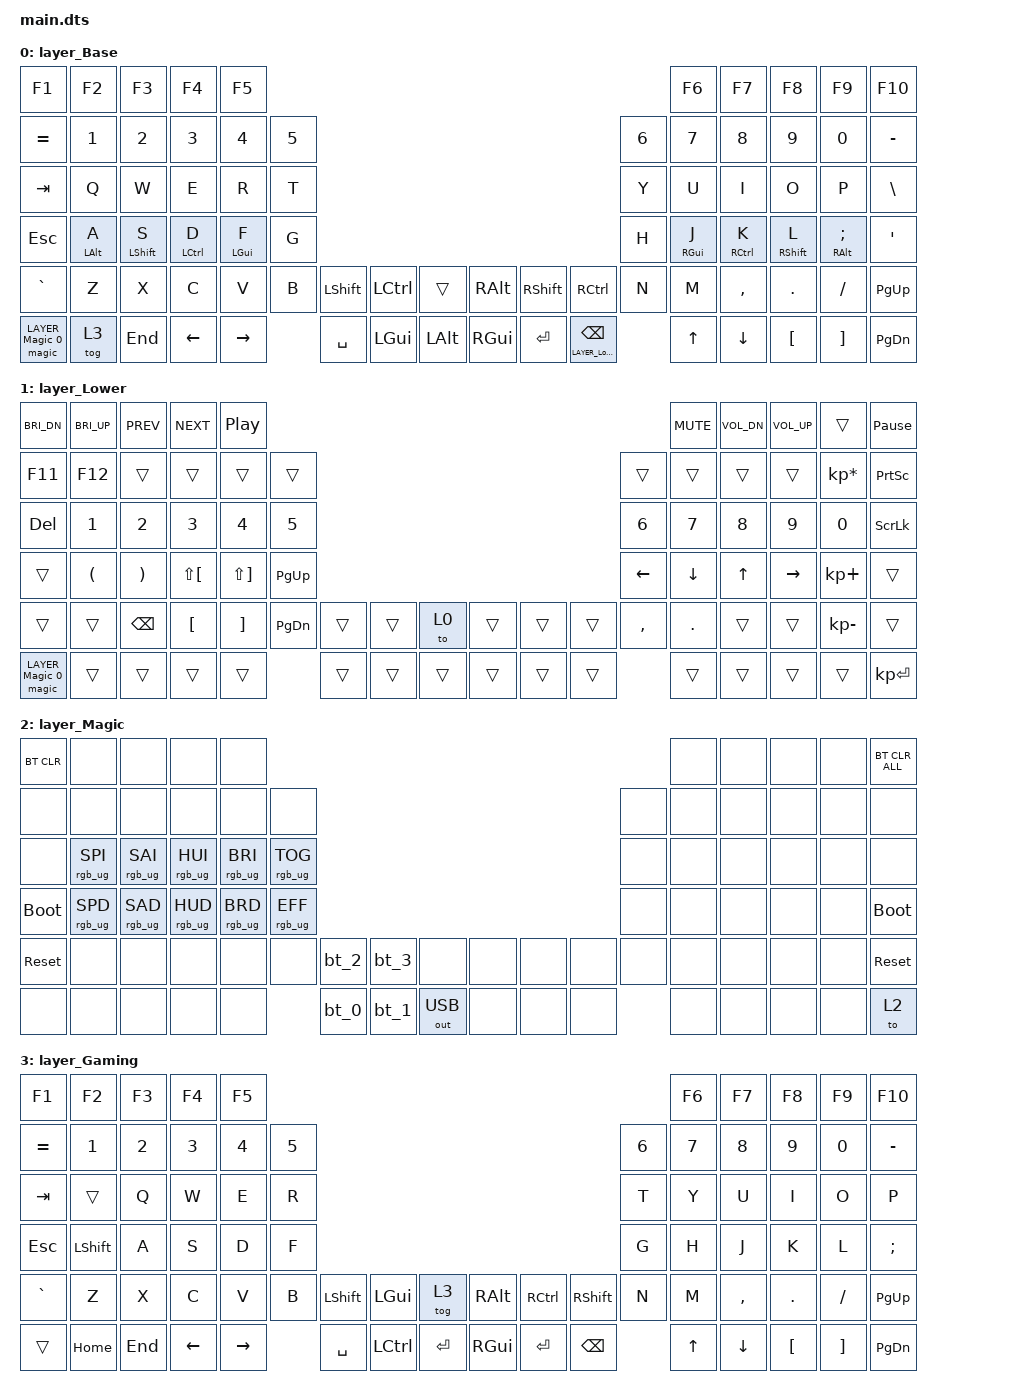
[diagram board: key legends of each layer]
#include <behaviors.dtsi>
#include <dt-bindings/zmk/outputs.h>
#include <dt-bindings/zmk/keys.h>
#include <dt-bindings/zmk/bt.h>
#include <dt-bindings/zmk/rgb.h>
#include <dt-bindings/zmk/rgb_colors.h>

#define LAYER_Base 0
#define LAYER_Lower 1
#define LAYER_Magic 2
#define LAYER_Gaming 3

#include "keys.dtsi"
#include "defaults.dtsi"

/ {
    underglow-layer {
        compatible = "zmk,underglow-layer";

        lower {
            bindings = <
                &ug ___ &ug ___ &ug ___ &ug ___ &ug ___                                                                    &ug ___  &ug ___    &ug ___    &ug ___ &ug ___
                &ug ___ &ug ___ &ug ___ &ug ___ &ug ___ &ug ___                                                   &ug ___  &ug ___  &ug ___    &ug ___    &ug ___ &ug ___
                &ug ___ &ug ___ &ug ___ &ug ___ &ug ___ &ug ___                                                   &ug ___  &ug ___  &ug ___    &ug ___    &ug ___ &ug ___
                &ug ___ &ug ___ &ug ___ &ug ___ &ug ___ &ug ___                                                   &ug PINK &ug PINK &ug PINK   &ug PINK   &ug ___ &ug ___
                &ug ___ &ug ___ &ug ___ &ug ___ &ug ___ &ug ___ &ug ___ &ug ___ &ug GREEN &ug ___ &ug ___ &ug ___ &ug ___  &ug ___  &ug YELLOW &ug YELLOW &ug RED &ug ___
                &ug ___ &ug ___ &ug ___ &ug ___ &ug ___         &ug ___ &ug ___ &ug ___   &ug ___ &ug ___ &ug ___          &ug ___  &ug YELLOW &ug YELLOW &ug RED &ug ___
            >;
            layer-id = <LAYER_Lower>;
        };
        gaming {
            bindings = <
                &ug ___ &ug ___   &ug ___  &ug ___  &ug ___                                                                  &ug ___ &ug ___ &ug ___ &ug ___ &ug ___
                &ug ___ &ug ___   &ug ___  &ug ___  &ug ___  &ug ___                                                 &ug ___ &ug ___ &ug ___ &ug ___ &ug ___ &ug ___
                &ug ___ &ug ___   &ug ___  &ug PINK &ug ___  &ug ___                                                 &ug ___ &ug ___ &ug ___ &ug ___ &ug ___ &ug ___
                &ug ___ &ug GREEN &ug PINK &ug PINK &ug PINK &ug ___                                                 &ug ___ &ug ___ &ug ___ &ug ___ &ug ___ &ug ___
                &ug ___ &ug ___   &ug ___  &ug ___  &ug ___  &ug ___ &ug ___ &ug ___ &ug RED &ug ___ &ug ___ &ug ___ &ug ___ &ug ___ &ug ___ &ug ___ &ug ___ &ug ___
                &ug ___ &ug ___   &ug ___  &ug ___  &ug ___          &ug ___ &ug ___ &ug ___ &ug ___ &ug ___ &ug ___         &ug ___ &ug ___ &ug ___ &ug ___ &ug ___
            >;
            layer-id = <LAYER_Gaming>;
        };
    };
};

/ {
    keymap {
        compatible = "zmk,keymap";

        layer_Base {
            bindings = <
                &kp F1                 &kp F2        &kp F3         &kp F4         &kp F5                                                                                                           &kp F6        &kp F7         &kp F8         &kp F9           &kp F10
                &kp EQUAL              &kp N1        &kp N2         &kp N3         &kp N4        &kp N5                                                                                    &kp N6   &kp N7        &kp N8         &kp N9         &kp N0           &kp MINUS
                &kp TAB                &kp Q         &kp W          &kp E          &kp R         &kp T                                                                                     &kp Y    &kp U         &kp I          &kp O          &kp P            &kp BSLH
                &kp ESC                &hml LALT A   &hml LSHFT S   &hml LCTRL D   &hml LGUI F   &kp G                                                                                     &kp H    &hmr RGUI J   &hmr RCTRL K   &hmr RSHFT L   &hmr RALT SEMI   &kp SQT
                &kp GRAVE              &kp Z         &kp X          &kp C          &kp V         &kp B    &kp LSHFT   &kp LCTRL   &trans     &kp RALT   &kp RSHFT   &kp RCTRL              &kp N    &kp M         &kp COMMA      &kp DOT        &kp FSLH         &kp PG_UP
                &magic LAYER_Magic 0   &tog 3        &kp END        &kp LEFT       &kp RIGHT              &kp SPACE   &kp LGUI    &kp LALT   &kp RGUI   &kp RET     &lt LAYER_Lower BSPC            &kp UP        &kp DOWN       &kp LBKT       &kp RBKT         &kp PG_DN
            >;
        };
        layer_Lower {
            bindings = <
                &kp C_BRI_DN           &kp C_BRI_UP   &kp C_PREV   &kp C_NEXT     &kp C_PP                                                                                          &kp C_MUTE       &kp C_VOL_DN   &kp C_VOL_UP      &trans            &kp PAUSE_BREAK
                &kp F11                &kp F12        &trans       &trans         &trans         &trans                                                            &trans           &trans           &trans         &trans            &kp KP_MULTIPLY   &kp PRINTSCREEN
                &kp DEL                &kp N1         &kp N2       &kp N3         &kp N4         &kp N5                                                            &kp N6           &kp N7           &kp N8         &kp N9            &kp N0            &kp SCROLLLOCK
                &trans                 &kp LPAR       &kp RPAR     &kp LS(LBKT)   &kp LS(RBKT)   &kp PG_UP                                                         &kp LEFT_ARROW   &kp DOWN_ARROW   &kp UP_ARROW   &kp RIGHT_ARROW   &kp KP_PLUS       &trans
                &trans                 &trans         &kp BSPC     &kp LBKT       &kp RBKT       &kp PG_DN   &trans   &trans   &to 0    &trans   &trans   &trans   &kp COMMA        &kp DOT          &trans         &trans            &kp KP_MINUS      &trans
                &magic LAYER_Magic 0   &trans         &trans       &trans         &trans                     &trans   &trans   &trans   &trans   &trans   &trans                    &trans           &trans         &trans            &trans            &kp KP_ENTER
            >;
        };
        layer_Magic {
            bindings = <
                &bt BT_CLR    &none             &none             &none             &none                                                                                              &none   &none   &none   &none   &bt BT_CLR_ALL
                &none         &none             &none             &none             &none             &none                                                                    &none   &none   &none   &none   &none   &none
                &none         &rgb_ug RGB_SPI   &rgb_ug RGB_SAI   &rgb_ug RGB_HUI   &rgb_ug RGB_BRI   &rgb_ug RGB_TOG                                                          &none   &none   &none   &none   &none   &none
                &bootloader   &rgb_ug RGB_SPD   &rgb_ug RGB_SAD   &rgb_ug RGB_HUD   &rgb_ug RGB_BRD   &rgb_ug RGB_EFF                                                          &none   &none   &none   &none   &none   &bootloader
                &sys_reset    &none             &none             &none             &none             &none             &bt_2   &bt_3   &none          &none   &none   &none   &none   &none   &none   &none   &none   &sys_reset
                &none         &none             &none             &none             &none                               &bt_0   &bt_1   &out OUT_USB   &none   &none   &none           &none   &none   &none   &none   &to 2
            >;
        };
        layer_Gaming {
            bindings = <
                &kp F1      &kp F2      &kp F3    &kp F4     &kp F5                                                                                             &kp F6   &kp F7      &kp F8     &kp F9     &kp F10
                &kp EQUAL   &kp N1      &kp N2    &kp N3     &kp N4      &kp N5                                                                        &kp N6   &kp N7   &kp N8      &kp N9     &kp N0     &kp MINUS
                &kp TAB     &trans      &kp Q     &kp W      &kp E       &kp R                                                                         &kp T    &kp Y    &kp U       &kp I      &kp O      &kp P
                &kp ESC     &kp LSHFT   &kp A     &kp S      &kp D       &kp F                                                                         &kp G    &kp H    &kp J       &kp K      &kp L      &kp SEMI
                &kp GRAVE   &kp Z       &kp X     &kp C      &kp V       &kp B    &kp LSHFT   &kp LGUI    &tog 3    &kp RALT   &kp RCTRL   &kp RSHFT   &kp N    &kp M    &kp COMMA   &kp DOT    &kp FSLH   &kp PG_UP
                &trans      &kp HOME    &kp END   &kp LEFT   &kp RIGHT            &kp SPACE   &kp LCTRL   &kp RET   &kp RGUI   &kp RET     &kp BSPC             &kp UP   &kp DOWN    &kp LBKT   &kp RBKT   &kp PG_DN
            >;
        };
    };
};

// home row mods
/ {
    behaviors {
        hml: home_row_mod_left {
            compatible = "zmk,behavior-hold-tap";
            #binding-cells = <2>;
            flavor = "balanced";
            tapping-term-ms = <280>;
            quick-tap-ms = <175>;
            require-prior-idle-ms = <160>;
            bindings = <&kp>, <&kp>;
            hold-trigger-key-positions = <KEYS_R THUMBS>;
            hold-trigger-on-release;
        };
        hmr: home_row_mod_right {
            compatible = "zmk,behavior-hold-tap";
            #binding-cells = <2>;
            flavor = "balanced";
            tapping-term-ms = <280>;
            quick-tap-ms = <175>;
            require-prior-idle-ms = <160>;
            bindings = <&kp>, <&kp>;
            hold-trigger-key-positions = <KEYS_L THUMBS>;
            hold-trigger-on-release;
        };
    };
};
